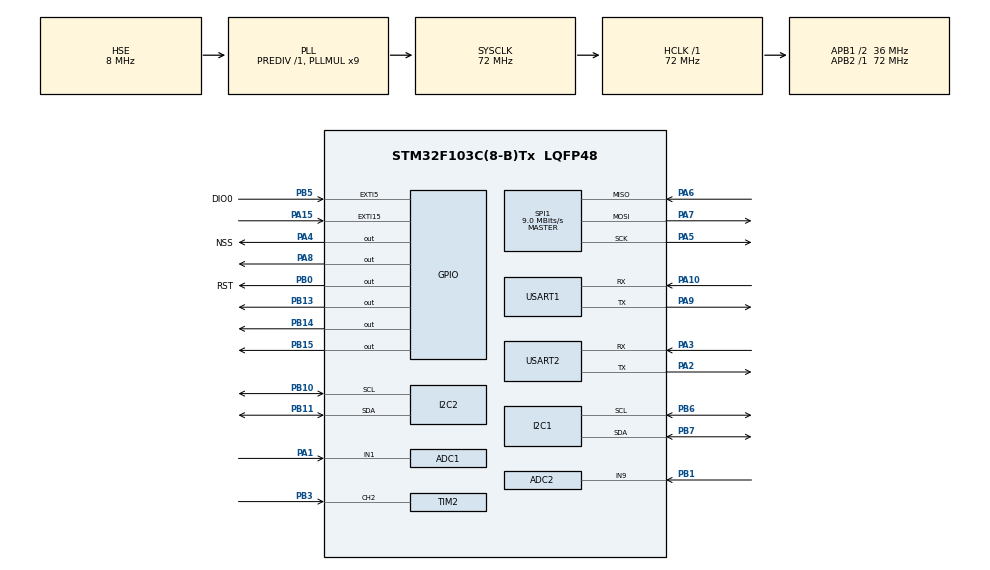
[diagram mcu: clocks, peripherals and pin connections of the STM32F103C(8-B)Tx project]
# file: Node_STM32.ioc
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ADC1.Channel-1\#ChannelRegularConversion=ADC_CHANNEL_1
ADC1.NbrOfConversionFlag=1
ADC1.Rank-1\#ChannelRegularConversion=1
ADC1.SamplingTime-1\#ChannelRegularConversion=ADC_SAMPLETIME_1CYCLE_5
ADC1.master=1
ADC2.Channel-8\#ChannelRegularConversion=ADC_CHANNEL_9
ADC2.NbrOfConversionFlag=1
ADC2.Rank-8\#ChannelRegularConversion=1
ADC2.SamplingTime-8\#ChannelRegularConversion=ADC_SAMPLETIME_1CYCLE_5
FREERTOS.BinarySemaphores01=myBinarySemSend,Dynamic,NULL;myBinarySemFlow,Dynamic,NULL
FREERTOS.Tasks01=sendMessage,2,128,sendMessageTask,Default,NULL,Dynamic,NULL,NULL;flowWater,-3,128,flowWaterTask,Default,NULL,Dynamic,NULL,NULL;salTask,1,128,measureSal,Default,NULL,Dynamic,NULL,NULL
FREERTOS.configUSE_COUNTING_SEMAPHORES=0
Mcu.Family=STM32F1
Mcu.Name=STM32F103C(8-B)Tx
Mcu.Package=LQFP48
NVIC.EXTI15_10_IRQn=true\:6\:0\:true\:false\:true\:true\:true\:true\:true
NVIC.EXTI9_5_IRQn=true\:14\:0\:true\:false\:true\:true\:true\:true\:true
NVIC.PriorityGroup=NVIC_PRIORITYGROUP_4
NVIC.TIM4_IRQn=true\:15\:0\:true\:false\:true\:false\:false\:true\:true
NVIC.TimeBase=TIM4_IRQn
NVIC.TimeBaseIP=TIM4
PA1.Signal=ADCx_IN1
PA10.Mode=Asynchronous
PA10.Signal=USART1_RX
PA13.Mode=Serial_Wire
PA13.Signal=SYS_JTMS-SWDIO
PA14.Mode=Serial_Wire
PA14.Signal=SYS_JTCK-SWCLK
PA15.GPIO_PuPd=GPIO_PULLDOWN
PA15.Signal=GPXTI15
PA2.Mode=Asynchronous
PA2.Signal=USART2_TX
PA3.Mode=Asynchronous
PA3.Signal=USART2_RX
PA4.GPIO_Label=NSS
PA4.PinState=GPIO_PIN_SET
PA4.Signal=GPIO_Output
PA5.Mode=Full_Duplex_Master
PA5.Signal=SPI1_SCK
PA6.Mode=Full_Duplex_Master
PA6.Signal=SPI1_MISO
PA7.Mode=Full_Duplex_Master
PA7.Signal=SPI1_MOSI
PA8.Signal=GPIO_Output
PA9.Mode=Asynchronous
PA9.Signal=USART1_TX
PB0.GPIO_Label=RST
PB0.PinState=GPIO_PIN_SET
PB0.Signal=GPIO_Output
PB1.Signal=ADCx_IN9
PB10.Mode=I2C
PB10.Signal=I2C2_SCL
PB11.Mode=I2C
PB11.Signal=I2C2_SDA
PB13.Signal=GPIO_Output
PB14.Signal=GPIO_Output
PB15.Signal=GPIO_Output
PB3.Signal=S_TIM2_CH2
PB5.GPIO_Label=DIO0
PB5.Signal=GPXTI5
PB6.Mode=I2C
PB6.Signal=I2C1_SCL
PB7.Mode=I2C
PB7.Signal=I2C1_SDA
PD0-OSC_IN.Mode=HSE-External-Oscillator
PD0-OSC_IN.Signal=RCC_OSC_IN
PD1-OSC_OUT.Mode=HSE-External-Oscillator
PD1-OSC_OUT.Signal=RCC_OSC_OUT
ProjectManager.HeapSize=0x200
ProjectManager.StackSize=0x400
ProjectManager.TargetToolchain=MDK-ARM V5.32
RCC.ADCPresc=RCC_ADCPCLK2_DIV6
RCC.AHBFreq_Value=72000000
RCC.APB1CLKDivider=RCC_HCLK_DIV2
RCC.APB1Freq_Value=36000000
RCC.APB1TimFreq_Value=72000000
RCC.APB2Freq_Value=72000000
RCC.APB2TimFreq_Value=72000000
RCC.HCLKFreq_Value=72000000
RCC.PLLMUL=RCC_PLL_MUL9
RCC.PLLSourceVirtual=RCC_PLLSOURCE_HSE
RCC.SYSCLKFreq_VALUE=72000000
RCC.SYSCLKSource=RCC_SYSCLKSOURCE_PLLCLK
RCC.USBFreq_Value=72000000
SH.ADCx_IN1.0=ADC1_IN1,IN1
SH.ADCx_IN9.0=ADC2_IN9,IN9
SH.S_TIM2_CH2.0=TIM2_CH2,Input_Capture2_from_TI2
SPI1.BaudRatePrescaler=SPI_BAUDRATEPRESCALER_8
SPI1.CalculateBaudRate=9.0 MBits/s
SPI1.Direction=SPI_DIRECTION_2LINES
SPI1.Mode=SPI_MODE_MASTER
SPI1.VirtualType=VM_MASTER
TIM2.Channel-Input_Capture2_from_TI2=TIM_CHANNEL_2
USART1.VirtualMode=VM_ASYNC
USART2.VirtualMode=VM_ASYNC
VP_FREERTOS_VS_CMSIS_V1.Mode=CMSIS_V1
VP_SYS_VS_tim4.Mode=TIM4
board=custom

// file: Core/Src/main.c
/* USER CODE BEGIN Header */
/**
  ******************************************************************************
  * @file           : main.c
  * @brief          : Main program body
  ******************************************************************************
  * @attention
  *
  * Copyright (c) 2024 STMicroelectronics.
  * All rights reserved.
  *
  * This software is licensed under terms that can be found in the LICENSE file
  * in the root directory of this software component.
  * If no LICENSE file comes with this software, it is provided AS-IS.
  *
  ******************************************************************************
  */
/* USER CODE END Header */
#include "main.h"
#include "cmsis_os.h"

/* USER CODE BEGIN Includes */
#include <stdlib.h>
#include "LoRa.h"
#include <string.h>
#include "cJSON.h"
#include "i2c-lcd.h"
#include "flash.h"
#include <stdbool.h>
/* USER CODE END Includes */

/* USER CODE BEGIN PD */
cJSON* jsonTemp;
cJSON *id_item;

//=========================================================MY ID DEFINE===========================================================
#define myID "ND7970"
typedef struct id{
  int numberID;
  uint32_t addrStart;
	uint32_t addrEnd;
  uint32_t addrNumberID;
  char ids[100][6];
}id;
	float salValue[100];
id managerID;
//=========================================================Address Flash DEFINE===================================================
#define START_ADDRESS 		((uint32_t)0x0801F810)	//Page 126
#define NUMBER_ID_ADDRESS	((uint32_t)0x0801F402)	//Page 126

//========================================================ALL SENSOR DEFINE=======================================================
//#define SHT3x
#define SAL //Sensor Sal
//#define KIT //Kit Weather Station
//#define FLOW_WATER //sensor flow water
//#define ULTRASONIC //level water
#define LCD

/* USER CODE END PD */

ADC_HandleTypeDef hadc1;
ADC_HandleTypeDef hadc2;

I2C_HandleTypeDef hi2c1;
I2C_HandleTypeDef hi2c2;

SPI_HandleTypeDef hspi1;

TIM_HandleTypeDef htim2;

UART_HandleTypeDef huart1;
UART_HandleTypeDef huart2;

osThreadId sendMessageHandle;
osThreadId flowWaterHandle;
osThreadId salTaskHandle;
osSemaphoreId myBinarySemSendHandle;
osSemaphoreId myBinarySemFlowHandle;
/* USER CODE BEGIN PV */

LoRa myLoRa;
char readData[128];
char sendData[128];
int	rssi;
char msg[64];
char messRecv[200];

int i = 0;
//=======================================================INIT json data==============================================================
char jsonPack[250];
//=======================================================INIT Sensors==========================================================
typedef struct{
	#ifdef SHT3x
	float valTemp;
	char valTempToStr[10];
	float valHum;
	char valHumToStr[10];
	#endif

	#ifdef SAL
	float valSal;
	char valSalToStr[10];
	#endif

	#ifdef KIT
	int valWindSpeed;
	int valWindDirection;
	int valTempKit;
	int valHumKit;

	char valSpeedToStr[10];
	char valDirectionToStr[10];
	char valTempKitToStr[10];
	char valHumKitToStr[10];
	#endif

	#ifdef FLOW_WATER
	float valQ;
	char valQToStr[10];
	#endif

	#ifdef ULTRASONIC
	int valLevelWater;
	char valLevelWaterToStr[10];
	#endif
}sensors;

sensors sensorVals;
int pul = 0;

#ifdef SAL
float kvalue = 1;
float adcValue = 0;
float adcValue2 = 0;
float ec = 0;
float te = 0;
float value = 0;
float temp = 0;
float conductivity = 0;
#define RES2 820.0
#define ECREF 200.0
#define GDIFF (30/1.8)
#define VR0  0.223
#define G0  2
#define I  (1.24 / 10000)
#endif
//====================================================================INIT TIME===================================================================
int lastTime = 0;
int wait = 5000;

int lastTimeFlow = 0;
int waitFlow = 1000;

float flowRate;
float flowMilliLitres;
float totalMilliLitres;

/* USER CODE END PV */

void SystemClock_Config(void);
static void MX_GPIO_Init(void);
static void MX_SPI1_Init(void);
static void MX_USART1_UART_Init(void);
static void MX_ADC1_Init(void);
static void MX_I2C1_Init(void);
static void MX_I2C2_Init(void);
static void MX_USART2_UART_Init(void);
static void MX_TIM2_Init(void);
static void MX_ADC2_Init(void);
void sendMessageTask(void const * argument);
void flowWaterTask(void const * argument);
void measureSal(void const * argument);

/* USER CODE BEGIN PFP */
//======================================================Function for Json====================================================
void formatJson();
void proceedJson(char *DataJSON);
void mergeJson(cJSON *json1, cJSON *json2);

//======================================================Function for Flash===================================================
void writeIDToFlash(char *id);
void readIDFromFlash();
int loo = 0;

//======================================================Funtion PRINT================================================================
void printUart(char *str);

//======================================================Funtion Sensors================================================================
#ifdef SHT3x
uint16_t uint8_to_uint16(uint8_t msb, uint8_t lsb);
void readSHT30();
#endif

#ifdef SAL
float volCal(float input);
float calibrate(float voltage);
bool setCalibration(float calibration);
float convVoltagetoTemperature_C(float voltage);
float getEC_us_cm(float voltage, float temperature);
void readSal();
#endif

//========================================================Median filter==================================================================
float tempValue[30];
float humValue[30];
void sortValue(float value[30], int size);
float medianFilter(float value[30], int size);

/* USER CODE END PFP */

/* USER CODE BEGIN 0 */
void HAL_GPIO_EXTI_Callback(uint16_t GPIO_Pin);
/* USER CODE END 0 */

int main(void)
{

  /* USER CODE BEGIN 1 */
	managerID.addrStart = START_ADDRESS;
	managerID.addrEnd = START_ADDRESS;
	managerID.addrNumberID = NUMBER_ID_ADDRESS;
	managerID.numberID = 0;
  /* USER CODE END 1 */

  /* MCU Configuration--------------------------------------------------------*/

  /* Reset of all peripherals, Initializes the Flash interface and the Systick. */
  HAL_Init();

  /* Configure the system clock */
  SystemClock_Config();

  /* Initialize all configured peripherals */
  MX_GPIO_Init();
  MX_SPI1_Init();
  MX_USART1_UART_Init();
  MX_ADC1_Init();
  MX_I2C1_Init();
  MX_I2C2_Init();
  MX_USART2_UART_Init();
  MX_TIM2_Init();
  MX_ADC2_Init();
  /* USER CODE BEGIN 2 */
	myLoRa = newLoRa();

	myLoRa.hSPIx                 = &hspi1;
	myLoRa.CS_port               = NSS_GPIO_Port;
	myLoRa.CS_pin                = NSS_Pin;
	myLoRa.reset_port            = RST_GPIO_Port;
	myLoRa.reset_pin             = RST_Pin;
	myLoRa.DIO0_port						 = DIO0_GPIO_Port;
	myLoRa.DIO0_pin							 = DIO0_Pin;

	myLoRa.frequency             = 433;							  // default = 433 MHz
	myLoRa.spredingFactor        = SF_12;							// default = SF_7
	myLoRa.bandWidth			       = BW_125KHz;				  // default = BW_125KHz
	myLoRa.crcRate				       = CR_4_5;						// default = CR_4_5
	myLoRa.power					       = POWER_20db;				// default = 20db
	myLoRa.overCurrentProtection = 120; 							// default = 100 mA
	myLoRa.preamble				       = 10;		  					// default = 8;

	LoRa_reset(&myLoRa);
	uint16_t LoRa_status = LoRa_init(&myLoRa);

	// START CONTINUOUS RECEIVING -----------------------------------
//	writeIDToFlash("ND7961");
//	readIDFromFlash();
	LoRa_startReceiving(&myLoRa);
	if (LoRa_status==LORA_OK){
		LoRa_transmit(&myLoRa, (uint8_t*)sendData, 120, 100);
		printUart("LoRa is running...");
	}
	else{
		printUart("\n\r LoRa failed :( \n\r Error code: %d");
	}

	//======================================================================INIT LCD======================================================================
	#ifdef LCD
	lcd_init();
	sprintf(msg,"DO MAN: %.2f %",0.0);
	lcd_goto_XY(1,0);
	lcd_send_string(msg);
	#endif

  /* USER CODE END 2 */

  /* Create the semaphores(s) */
  /* definition and creation of myBinarySemSend */
  osSemaphoreDef(myBinarySemSend);
  myBinarySemSendHandle = osSemaphoreCreate(osSemaphore(myBinarySemSend), 1);

  /* definition and creation of myBinarySemFlow */
	#ifdef FLOW
  osSemaphoreDef(myBinarySemFlow);
  myBinarySemFlowHandle = osSemaphoreCreate(osSemaphore(myBinarySemFlow), 1);
	#endif

  /* Create the thread(s) */
  /* definition and creation of sendMessage */
  osThreadDef(sendMessage, sendMessageTask, osPriorityHigh, 0, 128);
  sendMessageHandle = osThreadCreate(osThread(sendMessage), NULL);

  /* definition and creation of flowWater */
	#ifdef FLOW
  osThreadDef(flowWater, flowWaterTask, osPriorityIdle, 0, 128);
  flowWaterHandle = osThreadCreate(osThread(flowWater), NULL);
	#endif

  /* definition and creation of salTask */
	#ifdef SAL
  osThreadDef(salTask, measureSal, osPriorityAboveNormal, 0, 128);
  salTaskHandle = osThreadCreate(osThread(salTask), NULL);
	#endif
  /* USER CODE BEGIN RTOS_THREADS */
	osSemaphoreRelease(myBinarySemSendHandle);
  /* add threads, ... */
  /* USER CODE END RTOS_THREADS */

  /* Start scheduler */
  osKernelStart();

  /* We should never get here as control is now taken by the scheduler */

  /* Infinite loop */
  while (1)
  {

  }
}

void SystemClock_Config(void)
{
  RCC_OscInitTypeDef RCC_OscInitStruct = {0};
  RCC_ClkInitTypeDef RCC_ClkInitStruct = {0};
  RCC_PeriphCLKInitTypeDef PeriphClkInit = {0};

  /** Initializes the RCC Oscillators according to the specified parameters
  * in the RCC_OscInitTypeDef structure.
  */
  RCC_OscInitStruct.OscillatorType = RCC_OSCILLATORTYPE_HSE;
  RCC_OscInitStruct.HSEState = RCC_HSE_ON;
  RCC_OscInitStruct.HSEPredivValue = RCC_HSE_PREDIV_DIV1;
  RCC_OscInitStruct.HSIState = RCC_HSI_ON;
  RCC_OscInitStruct.PLL.PLLState = RCC_PLL_ON;
  RCC_OscInitStruct.PLL.PLLSource = RCC_PLLSOURCE_HSE;
  RCC_OscInitStruct.PLL.PLLMUL = RCC_PLL_MUL9;
  if (HAL_RCC_OscConfig(&RCC_OscInitStruct) != HAL_OK)
  {
    Error_Handler();
  }

  /** Initializes the CPU, AHB and APB buses clocks
  */
  RCC_ClkInitStruct.ClockType = RCC_CLOCKTYPE_HCLK|RCC_CLOCKTYPE_SYSCLK
                              |RCC_CLOCKTYPE_PCLK1|RCC_CLOCKTYPE_PCLK2;
  RCC_ClkInitStruct.SYSCLKSource = RCC_SYSCLKSOURCE_PLLCLK;
  RCC_ClkInitStruct.AHBCLKDivider = RCC_SYSCLK_DIV1;
  RCC_ClkInitStruct.APB1CLKDivider = RCC_HCLK_DIV2;
  RCC_ClkInitStruct.APB2CLKDivider = RCC_HCLK_DIV1;

  if (HAL_RCC_ClockConfig(&RCC_ClkInitStruct, FLASH_LATENCY_2) != HAL_OK)
  {
    Error_Handler();
  }
  PeriphClkInit.PeriphClockSelection = RCC_PERIPHCLK_ADC;
  PeriphClkInit.AdcClockSelection = RCC_ADCPCLK2_DIV6;
  if (HAL_RCCEx_PeriphCLKConfig(&PeriphClkInit) != HAL_OK)
  {
    Error_Handler();
  }
}

static void MX_ADC1_Init(void)
{

  ADC_ChannelConfTypeDef sConfig = {0};

  /** Common config
  */
  hadc1.Instance = ADC1;
  hadc1.Init.ScanConvMode = ADC_SCAN_DISABLE;
  hadc1.Init.ContinuousConvMode = DISABLE;
  hadc1.Init.DiscontinuousConvMode = DISABLE;
  hadc1.Init.ExternalTrigConv = ADC_SOFTWARE_START;
  hadc1.Init.DataAlign = ADC_DATAALIGN_RIGHT;
  hadc1.Init.NbrOfConversion = 1;
  if (HAL_ADC_Init(&hadc1) != HAL_OK)
  {
    Error_Handler();
  }

  /** Configure Regular Channel
  */
  sConfig.Channel = ADC_CHANNEL_1;
  sConfig.Rank = ADC_REGULAR_RANK_1;
  sConfig.SamplingTime = ADC_SAMPLETIME_1CYCLE_5;
  if (HAL_ADC_ConfigChannel(&hadc1, &sConfig) != HAL_OK)
  {
    Error_Handler();
  }

}

static void MX_ADC2_Init(void)
{

  ADC_ChannelConfTypeDef sConfig = {0};

  /** Common config
  */
  hadc2.Instance = ADC2;
  hadc2.Init.ScanConvMode = ADC_SCAN_DISABLE;
  hadc2.Init.ContinuousConvMode = DISABLE;
  hadc2.Init.DiscontinuousConvMode = DISABLE;
  hadc2.Init.ExternalTrigConv = ADC_SOFTWARE_START;
  hadc2.Init.DataAlign = ADC_DATAALIGN_RIGHT;
  hadc2.Init.NbrOfConversion = 1;
  if (HAL_ADC_Init(&hadc2) != HAL_OK)
  {
    Error_Handler();
  }

  /** Configure Regular Channel
  */
  sConfig.Channel = ADC_CHANNEL_9;
  sConfig.Rank = ADC_REGULAR_RANK_1;
  sConfig.SamplingTime = ADC_SAMPLETIME_1CYCLE_5;
  if (HAL_ADC_ConfigChannel(&hadc2, &sConfig) != HAL_OK)
  {
    Error_Handler();
  }

}

static void MX_I2C1_Init(void)
{

  hi2c1.Instance = I2C1;
  hi2c1.Init.ClockSpeed = 100000;
  hi2c1.Init.DutyCycle = I2C_DUTYCYCLE_2;
  hi2c1.Init.OwnAddress1 = 0;
  hi2c1.Init.AddressingMode = I2C_ADDRESSINGMODE_7BIT;
  hi2c1.Init.DualAddressMode = I2C_DUALADDRESS_DISABLE;
  hi2c1.Init.OwnAddress2 = 0;
  hi2c1.Init.GeneralCallMode = I2C_GENERALCALL_DISABLE;
  hi2c1.Init.NoStretchMode = I2C_NOSTRETCH_DISABLE;
  if (HAL_I2C_Init(&hi2c1) != HAL_OK)
  {
    Error_Handler();
  }

}

static void MX_I2C2_Init(void)
{

  hi2c2.Instance = I2C2;
  hi2c2.Init.ClockSpeed = 100000;
  hi2c2.Init.DutyCycle = I2C_DUTYCYCLE_2;
  hi2c2.Init.OwnAddress1 = 0;
  hi2c2.Init.AddressingMode = I2C_ADDRESSINGMODE_7BIT;
  hi2c2.Init.DualAddressMode = I2C_DUALADDRESS_DISABLE;
  hi2c2.Init.OwnAddress2 = 0;
  hi2c2.Init.GeneralCallMode = I2C_GENERALCALL_DISABLE;
  hi2c2.Init.NoStretchMode = I2C_NOSTRETCH_DISABLE;
  if (HAL_I2C_Init(&hi2c2) != HAL_OK)
  {
    Error_Handler();
  }

}

static void MX_SPI1_Init(void)
{

  /* SPI1 parameter configuration*/
  hspi1.Instance = SPI1;
  hspi1.Init.Mode = SPI_MODE_MASTER;
  hspi1.Init.Direction = SPI_DIRECTION_2LINES;
  hspi1.Init.DataSize = SPI_DATASIZE_8BIT;
  hspi1.Init.CLKPolarity = SPI_POLARITY_LOW;
  hspi1.Init.CLKPhase = SPI_PHASE_1EDGE;
  hspi1.Init.NSS = SPI_NSS_SOFT;
  hspi1.Init.BaudRatePrescaler = SPI_BAUDRATEPRESCALER_8;
  hspi1.Init.FirstBit = SPI_FIRSTBIT_MSB;
  hspi1.Init.TIMode = SPI_TIMODE_DISABLE;
  hspi1.Init.CRCCalculation = SPI_CRCCALCULATION_DISABLE;
  hspi1.Init.CRCPolynomial = 10;
  if (HAL_SPI_Init(&hspi1) != HAL_OK)
  {
    Error_Handler();
  }

}

static void MX_TIM2_Init(void)
{

  TIM_MasterConfigTypeDef sMasterConfig = {0};
  TIM_IC_InitTypeDef sConfigIC = {0};

  htim2.Instance = TIM2;
  htim2.Init.Prescaler = 0;
  htim2.Init.CounterMode = TIM_COUNTERMODE_UP;
  htim2.Init.Period = 65535;
  htim2.Init.ClockDivision = TIM_CLOCKDIVISION_DIV1;
  htim2.Init.AutoReloadPreload = TIM_AUTORELOAD_PRELOAD_DISABLE;
  if (HAL_TIM_IC_Init(&htim2) != HAL_OK)
  {
    Error_Handler();
  }
  sMasterConfig.MasterOutputTrigger = TIM_TRGO_RESET;
  sMasterConfig.MasterSlaveMode = TIM_MASTERSLAVEMODE_DISABLE;
  if (HAL_TIMEx_MasterConfigSynchronization(&htim2, &sMasterConfig) != HAL_OK)
  {
    Error_Handler();
  }
  sConfigIC.ICPolarity = TIM_INPUTCHANNELPOLARITY_RISING;
  sConfigIC.ICSelection = TIM_ICSELECTION_DIRECTTI;
  sConfigIC.ICPrescaler = TIM_ICPSC_DIV1;
  sConfigIC.ICFilter = 0;
  if (HAL_TIM_IC_ConfigChannel(&htim2, &sConfigIC, TIM_CHANNEL_2) != HAL_OK)
  {
    Error_Handler();
  }

}

static void MX_USART1_UART_Init(void)
{

  huart1.Instance = USART1;
  huart1.Init.BaudRate = 115200;
  huart1.Init.WordLength = UART_WORDLENGTH_8B;
  huart1.Init.StopBits = UART_STOPBITS_1;
  huart1.Init.Parity = UART_PARITY_NONE;
  huart1.Init.Mode = UART_MODE_TX_RX;
  huart1.Init.HwFlowCtl = UART_HWCONTROL_NONE;
  huart1.Init.OverSampling = UART_OVERSAMPLING_16;
  if (HAL_UART_Init(&huart1) != HAL_OK)
  {
    Error_Handler();
  }

}

static void MX_USART2_UART_Init(void)
{

  huart2.Instance = USART2;
  huart2.Init.BaudRate = 115200;
  huart2.Init.WordLength = UART_WORDLENGTH_8B;
  huart2.Init.StopBits = UART_STOPBITS_1;
  huart2.Init.Parity = UART_PARITY_NONE;
  huart2.Init.Mode = UART_MODE_TX_RX;
  huart2.Init.HwFlowCtl = UART_HWCONTROL_NONE;
  huart2.Init.OverSampling = UART_OVERSAMPLING_16;
  if (HAL_UART_Init(&huart2) != HAL_OK)
  {
    Error_Handler();
  }

}

static void MX_GPIO_Init(void)
{
  GPIO_InitTypeDef GPIO_InitStruct = {0};

  /* GPIO Ports Clock Enable */
  __HAL_RCC_GPIOD_CLK_ENABLE();
  __HAL_RCC_GPIOA_CLK_ENABLE();
  __HAL_RCC_GPIOB_CLK_ENABLE();

  /*Configure GPIO pin Output Level */
  HAL_GPIO_WritePin(NSS_GPIO_Port, NSS_Pin, GPIO_PIN_SET);

  /*Configure GPIO pin Output Level */
  HAL_GPIO_WritePin(RST_GPIO_Port, RST_Pin, GPIO_PIN_SET);

  /*Configure GPIO pin Output Level */
  HAL_GPIO_WritePin(GPIOB, GPIO_PIN_13|GPIO_PIN_14|GPIO_PIN_15, GPIO_PIN_RESET);

  /*Configure GPIO pin Output Level */
  HAL_GPIO_WritePin(GPIOA, GPIO_PIN_8, GPIO_PIN_RESET);

  /*Configure GPIO pins : NSS_Pin PA8 */
  GPIO_InitStruct.Pin = NSS_Pin|GPIO_PIN_8;
  GPIO_InitStruct.Mode = GPIO_MODE_OUTPUT_PP;
  GPIO_InitStruct.Pull = GPIO_NOPULL;
  GPIO_InitStruct.Speed = GPIO_SPEED_FREQ_LOW;
  HAL_GPIO_Init(GPIOA, &GPIO_InitStruct);

  /*Configure GPIO pins : RST_Pin PB13 PB14 PB15 */
  GPIO_InitStruct.Pin = RST_Pin|GPIO_PIN_13|GPIO_PIN_14|GPIO_PIN_15;
  GPIO_InitStruct.Mode = GPIO_MODE_OUTPUT_PP;
  GPIO_InitStruct.Pull = GPIO_NOPULL;
  GPIO_InitStruct.Speed = GPIO_SPEED_FREQ_LOW;
  HAL_GPIO_Init(GPIOB, &GPIO_InitStruct);

  /*Configure GPIO pin : PA15 */
  GPIO_InitStruct.Pin = GPIO_PIN_15;
  GPIO_InitStruct.Mode = GPIO_MODE_IT_RISING;
  GPIO_InitStruct.Pull = GPIO_PULLDOWN;
  HAL_GPIO_Init(GPIOA, &GPIO_InitStruct);

  /*Configure GPIO pin : DIO0_Pin */
  GPIO_InitStruct.Pin = DIO0_Pin;
  GPIO_InitStruct.Mode = GPIO_MODE_IT_RISING;
  GPIO_InitStruct.Pull = GPIO_NOPULL;
  HAL_GPIO_Init(DIO0_GPIO_Port, &GPIO_InitStruct);

  /* EXTI interrupt init*/
  HAL_NVIC_SetPriority(EXTI9_5_IRQn, 14, 0);
  HAL_NVIC_EnableIRQ(EXTI9_5_IRQn);

  HAL_NVIC_SetPriority(EXTI15_10_IRQn, 6, 0);
  HAL_NVIC_EnableIRQ(EXTI15_10_IRQn);

}

/* USER CODE BEGIN 4 */

//===========================================================================JSON HANDLE==================================================================
void formatJson(){
    // Xóa m?ng d? li?u
    memset(jsonPack, 0, sizeof(jsonPack));

    #ifdef SHT3x
    memset(sensorVals.valTempToStr, 0, sizeof(sensorVals.valTempToStr));
    memset(sensorVals.valHumToStr, 0, sizeof(sensorVals.valHumToStr));
    #endif

    #ifdef KIT
    memset(sensorVals.valSpeedToStr, 0, sizeof(sensorVals.valSpeedToStr));
    memset(sensorVals.valDirectionToStr, 0, sizeof(sensorVals.valDirectionToStr));
    memset(sensorVals.valTempKitToStr, 0, sizeof(sensorVals.valTempKitToStr));
    memset(sensorVals.valHumKitToStr, 0, sizeof(sensorVals.valHumKitToStr));
    #endif

		#ifdef SAL
    memset(sensorVals.valSalToStr, 0, sizeof(sensorVals.valSalToStr));
    #endif

    #ifdef FLOW_WATER
    memset(sensorVals.valQToStr, 0, sizeof(sensorVals.valQToStr));
    #endif

    #ifdef ULTRASONIC
    memset(sensorVals.valLevelWaterToStr, 0, sizeof(sensorVals.valLevelWaterToStr));
    #endif

    #ifdef SHT3x
    sprintf(sensorVals.valTempToStr, "%0.2f", sensorVals.valTemp);
    sprintf(sensorVals.valHumToStr, "%0.2f", sensorVals.valHum);
    #endif

		#ifdef SAL
    sprintf(sensorVals.valSalToStr, "%0.2f", sensorVals.valSal);
    #endif

    #ifdef KIT
    sprintf(sensorVals.valSpeedToStr, "%d", sensorVals.valWindSpeed);
    sprintf(sensorVals.valDirectionToStr, "%d", sensorVals.valWindDirection);
    sprintf(sensorVals.valTempKitToStr, "%d", sensorVals.valTempKit);
    sprintf(sensorVals.valHumKitToStr, "%d", sensorVals.valHumKit);
    #endif

    #ifdef FLOW_WATER
		sensorVals.valQ = sensorVals.valQ / 1000;
    sprintf(sensorVals.valQToStr, "%f", sensorVals.valQ);
    #endif

    #ifdef ULTRASONIC
    sprintf(sensorVals.valLevelWaterToStr, "%d", sensorVals.valLevelWater);
    #endif

    // T?o chu?i JSON
    strcat(jsonPack, "{\"ID\":\"");
    strcat(jsonPack, myID);
    strcat(jsonPack, "\"");

    #ifdef SHT3x
    strcat(jsonPack, ",\"TEMP\":\"");
    strcat(jsonPack, sensorVals.valTempToStr);
    strcat(jsonPack, "\",\"HUM\":\"");
    strcat(jsonPack, sensorVals.valHumToStr);
    strcat(jsonPack, "\"");
    #endif

    #ifdef KIT
    strcat(jsonPack, ",\"WP\":\"");
    strcat(jsonPack, sensorVals.valSpeedToStr);
    strcat(jsonPack, "\",\"WD\":\"");
    strcat(jsonPack, sensorVals.valDirectionToStr);
    strcat(jsonPack, "\",\"TempKit\":\"");
    strcat(jsonPack, sensorVals.valTempKitToStr);
    strcat(jsonPack, "\",\"HumKit\":\"");
    strcat(jsonPack, sensorVals.valHumKitToStr);
    strcat(jsonPack, "\"");
    #endif

    #ifdef FLOW_WATER
    strcat(jsonPack, ",\"Q\":\"");
    strcat(jsonPack, sensorVals.valQToStr);
    strcat(jsonPack, "\"");
    #endif

    #ifdef ULTRASONIC
    strcat(jsonPack, ",\"LevelWater\":\"");
    strcat(jsonPack, sensorVals.valLevelWaterToStr);
    strcat(jsonPack, "\"");
    #endif

		#ifdef SAL
    strcat(jsonPack, ",\"SAL\":\"");
    strcat(jsonPack, sensorVals.valSalToStr);
    strcat(jsonPack, "\"");
    #endif

    strcat(jsonPack, "}");
    int i = 0;
}

void mergeJsonStrings(char* json2) {
		size_t len = strlen(jsonPack);
    if (len > 0) {
        jsonPack[len - 1] = '\0'; // Ghi dè ký t? cu?i b?ng ký t? k?t thúc chu?i '\0'
    }

    // Thêm d?u ph?y d? ngan cách các ph?n t?
    strcat(jsonPack, ",");

    // Duy?t qua các ph?n t? c?a chu?i JSON th? hai (lo?i b? d?u ngo?c m?)
    char* start = json2 + 1;
    while (*start != '\0') {
        // B? qua kho?ng tr?ng
        while (*start == ' ' || *start == '\n' || *start == '\r' || *start == '\t') {
            start++;
        }

        // Ki?m tra n?u ph?n t? là "ID"
        if (strncmp(start, "\"ID\"", 4) == 0) {
            // B? qua ph?n t? "ID"
            start = strchr(start, ',');
            if (start == NULL) {
                break;
            }
            start++; // B? qua d?u ph?y
            continue;
        }

        // Sao chép ph?n t? t? json2 vào result
        char* end = strchr(start, ',');
        if (end == NULL) {
            end = strchr(start, '}');
        }
        if (end == NULL) {
            break;
        }

        int length = end - start;
        if (strlen(jsonPack) + length < 250 - 1) {
            strncat(jsonPack, start, length);
            strcat(jsonPack, ",");
        } else {
//            printf("Result buffer too small.\n");
            return;
        }

        start = end + 1;
    }

    // Thêm ph?n còn l?i c?a json2 (sau d?u ph?y cu?i cùng)
    char* lastPart = strchr(start, '{');
    if (lastPart != NULL) {
        start = lastPart + 1; // B? qua d?u ngo?c m?
    }

    if (*start != '\0' && strchr(start, '}') != NULL) {
        if (strlen(jsonPack) + strlen(start) - 1 < 250 - 1) {
            strncat(jsonPack, start, strlen(start) - 1); // Sao chép ph?n còn l?i tr? d?u ngo?c dóng
        } else {
//            printf("Result buffer too small.\n");
            return;
        }
    }

    // Thay d?u ph?y cu?i cùng b?ng d?u ngo?c dóng
    if (strlen(jsonPack) > 0 && jsonPack[strlen(jsonPack) - 1] == ',') {
        jsonPack[strlen(jsonPack) - 1] = '}';
    } else {
        strcat(jsonPack, "}");
    }
}

void proceedJson(char *DataJSON){
	cJSON *strJson = cJSON_Parse(DataJSON);
	if(!strJson)
	{
		printUart("JSON ERROR!");
	}
	else
	{
		printUart("JSON OK!");
	}
}

//=============================================================================FLASH MEMORY===============================================================
void writeIDToFlash(char *id){
	strcpy(managerID.ids[managerID.numberID], id);
	Flash_Write_String((uint8_t *)id, managerID.addrEnd, 6);
	managerID.addrEnd|=(strlen(id)*2);
	managerID.numberID++;

	Flash_Write_Uint((uint16_t)managerID.numberID, managerID.addrNumberID);
}

void readIDFromFlash(){
	uint16_t numberIDTemp;
	numberIDTemp = Flash_Read_Uint(managerID.addrNumberID);
	managerID.numberID = numberIDTemp;
	for(int i = 0; i < numberIDTemp; i++){
		uint8_t idTemp[6];
		Flash_Read_String(idTemp, managerID.addrStart|((0x0C) * i), 6);
		strcpy(managerID.ids[i], (char *)idTemp);
	}
}

//=================================================================================UART===================================================================
void printUart(char *str){
	char messPrint[200];
	sprintf(messPrint,"%s\r\n",str);
	HAL_UART_Transmit(&huart1,(uint8_t *)messPrint,strlen(messPrint),1000);
}

uint16_t uint8_to_uint16(uint8_t msb, uint8_t lsb){
	return (uint16_t)((uint16_t)msb << 8u) | lsb;
}

//===============================================================================FUNTION SENSORS============================================================
#ifdef SHT3x
void readSHT30(){
	uint8_t buffer_r[6] = {0,0,0,0,0,0};
	uint8_t command_buffer[2] = {0x2C, 0x06};
	float tempValue[30];
	float humValue[30];
	for(int i = 0; i < 30; i++){
		HAL_I2C_Master_Transmit(&hi2c2, 0x44 << 1u, command_buffer, sizeof(command_buffer), 200);
	//	HAL_I2C_Master_Transmit(&hi2c1, 0x44 << 1u, command_buffer, sizeof(command_buffer), 200);
		//HAL_I2C_Master_Transmit(&hi2c1,0x44<<1u, buffer, sizeof(buffer),200);
		HAL_I2C_Master_Receive(&hi2c2 , 0x44<<1u, buffer_r, sizeof(buffer_r), 200);
		uint16_t temperature_raw = uint8_to_uint16(buffer_r[0], buffer_r[1]);
		uint16_t humidity_raw = uint8_to_uint16(buffer_r[3], buffer_r[4]);
		tempValue[i] = -45.0f + 175.0f * (float)temperature_raw / 65535.0f;
		humValue[i] = 100.0f * (float)humidity_raw / 65535.0f;
	}
		sensorVals.valTemp = medianFilter(tempValue, 30);
		sensorVals.valHum = medianFilter(humValue, 30);
}
#endif

#ifdef SAL
float volCal(float input){
  return input;
}

float calibrate(float voltage)
{
  voltage = volCal(voltage);
  float KValueTemp = RES2*ECREF*1413/100000.0/voltage;
  return KValueTemp;
}

bool setCalibration(float calibration)
{
  if((calibration>=0.5)&&(calibration<=1.5))
  {
    kvalue = calibration;
    return 1;
  }else
    return 0;
}

float convVoltagetoTemperature_C(float voltage)
{
  voltage = volCal(voltage);
  float Rpt1000 = (voltage/GDIFF+VR0)/I/G0;
  float temp = (Rpt1000-1000)/3.85;
  return temp;
}

float getEC_us_cm(float voltage, float temperature)
{
  voltage = volCal(voltage);
  float ecvalueRaw = 100000 * voltage / RES2 / ECREF * kvalue;
  float value = ecvalueRaw / (1.0 + 0.02 * (temperature - 25.0));
  return value;
}

void readSal(){
	setCalibration(calibrate(14131413.00));
	for(int i = 0; i < 100; i++){
		HAL_ADC_Start(&hadc2);
		HAL_Delay(1000);
		adcValue = HAL_ADC_GetValue(&hadc2)*3300/4095;
		HAL_ADC_Stop(&hadc2);
		te = 783;
		HAL_ADC_Start(&hadc1);
		HAL_Delay(1);
		adcValue2 = HAL_ADC_GetValue(&hadc1)*3300/4095;
		HAL_ADC_Stop(&hadc1);

		temp = convVoltagetoTemperature_C((float)te/ 1000);
//		temp = convVoltagetoTemperature_C((float)adcValue2/ 1000);
		conductivity = getEC_us_cm(adcValue, temp);

		salValue[i] = conductivity * 0.001 * 0.64;
		sprintf(msg,"DO MAN: %.2f ppt",salValue[i]);
		lcd_goto_XY(1,0);
		lcd_send_string(msg);
	}
	sensorVals.valSal = medianFilter(salValue, 100);
}
#endif

//===========================================================================INTERRUPT==================================================================
void HAL_GPIO_EXTI_Callback(uint16_t GPIO_Pin){
	if(GPIO_Pin == myLoRa.DIO0_pin){
//		HAL_ResumeTick();
		LoRa_receive(&myLoRa, (uint8_t*)messRecv, 200);
		rssi = LoRa_getRSSI(&myLoRa);
		if(strcmp(messRecv,myID)==0){
			osSemaphoreRelease(myBinarySemSendHandle);
		}else{
			printUart(messRecv);
			sprintf(msg,"%d\r\n",strlen(messRecv));
			HAL_UART_Transmit(&huart1,(uint8_t *)msg,strlen(msg),1000);
			jsonTemp = cJSON_Parse(messRecv);
			if(!jsonTemp)
			{
				printUart("JSON ERROR!");
			}
			else
			{
				printUart("JSON OK!");
			}
		}
	}
	if(GPIO_Pin == GPIO_PIN_15){
//		HAL_ResumeTick();
		osSemaphoreRelease(myBinarySemFlowHandle);
		pul++;
	}
}

//===========================================================================Filter======================================================================
void sortValue(float *value, int size){
	for(int i = 0; i < size-1; i++){
		for(int j = i+1; j < size; j++){
			if (value[i] > value[j]) {
					float temp = value[i];
					value[i] = value[j];
					value[j] = temp;
			}
		}
	}
}

float medianFilter(float *value, int size){
	sortValue(value, size);

	return value[size / 2];
}

/* USER CODE END 4 */

void sendMessageTask(void const * argument)
{
  /* USER CODE BEGIN 5 */
	formatJson();
  /* Infinite loop */
  for(;;)
  {
		printUart("SEND TASK");
		osSemaphoreWait(myBinarySemSendHandle, osWaitForever);
		if(strcmp(messRecv,myID)==0){

			#ifdef SHT3x
			printUart("Reading sht30");
			readSHT30();
			#endif

			if(managerID.numberID != 0){
				for(int element = 0; element < managerID.numberID; element++){
					int st = 0;
					while(st < 5){
						if(HAL_GetTick() - lastTime > wait){
							LoRa_transmit(&myLoRa, (uint8_t*)managerID.ids[element], strlen(managerID.ids[element]), 100);
							st++;
							printUart(managerID.ids[element]);
							lastTime = HAL_GetTick();
						}
						cJSON *id_item = cJSON_GetObjectItemCaseSensitive(jsonTemp, "ID");
						if (cJSON_IsString(id_item) && (id_item->valuestring != NULL)) {
								if (strcmp(id_item->valuestring, managerID.ids[element]) == 0) {
									size_t len = strlen(jsonPack);
									char* tempDataSensor = jsonPack;
									mergeJsonStrings(messRecv);
									cJSON_Delete(id_item);
									break;
								}
						}
					}
					st = 0;
				}
			}
			osDelay(100);

			formatJson();
			LoRa_transmit(&myLoRa, (uint8_t*)jsonPack, strlen(jsonPack), 1000);
			HAL_UART_Transmit(&huart1,(uint8_t *)jsonPack,strlen(jsonPack),1000);
			sprintf(messRecv,"%s","");
			#ifdef FLOW_WATER
			sensorVals.valQ = 0;
			#endif
			i++;
			//=================================================================SETUP SLEEP MODE==============================================================
//			HAL_SuspendTick();
//			HAL_PWR_EnterSLEEPMode(PWR_MAINREGULATOR_ON, PWR_SLEEPENTRY_WFI);
		}
	}
  /* USER CODE END 5 */
}

#ifdef FLOW_WATER
void flowWaterTask(void const * argument)
{
  /* USER CODE BEGIN flowWaterTask */
  /* Infinite loop */
  for(;;)
  {
		osSemaphoreWait(myBinarySemFlowHandle, osWaitForever);
		if(HAL_GetTick() - lastTimeFlow > waitFlow){
      lastTimeFlow = HAL_GetTick();
      flowMilliLitres = ((pul / 7.5)/ 60);

			sensorVals.valQ += flowMilliLitres;
			pul = 0;
			//=================================================================SETUP SLEEP MODE==============================================================
//			HAL_SuspendTick();
//			HAL_PWR_EnterSLEEPMode(PWR_MAINREGULATOR_ON, PWR_SLEEPENTRY_WFI);
		}
  }
  /* USER CODE END flowWaterTask */
}
#endif

#ifdef SAL
void measureSal(void const * argument)
{
  /* USER CODE BEGIN measureSal */
  /* Infinite loop */
  for(;;)
  {
		#ifdef SAL
		setCalibration(calibrate(14131413.00));
		for(int i = 0; i < 100; i++){
			HAL_ADC_Start(&hadc2);
			adcValue = HAL_ADC_GetValue(&hadc2)*3300/4095;
			HAL_ADC_Stop(&hadc2);
			te = 783;
			HAL_ADC_Start(&hadc1);
			HAL_Delay(1);
			adcValue2 = HAL_ADC_GetValue(&hadc1)*3300/4095;
			HAL_ADC_Stop(&hadc1);

//			temp = convVoltagetoTemperature_C((float)te/ 1000);
			temp = convVoltagetoTemperature_C((float)adcValue2/ 1000);
			conductivity = getEC_us_cm(adcValue, temp);

			salValue[i] = conductivity * 0.001 * 0.64;
			sprintf(msg,"DO MAN: %.2f ppt",salValue[i]);
			lcd_goto_XY(1,0);
			lcd_send_string(msg);
			osDelay(100);
		}
		sensorVals.valSal = medianFilter(salValue, 100);
		#endif
  }
  /* USER CODE END measureSal */
}
#endif

void HAL_TIM_PeriodElapsedCallback(TIM_HandleTypeDef *htim)
{
  if (htim->Instance == TIM4) {
    HAL_IncTick();
  }
}

void Error_Handler(void)
{
  __disable_irq();
  while (1)
  {
  }
}
